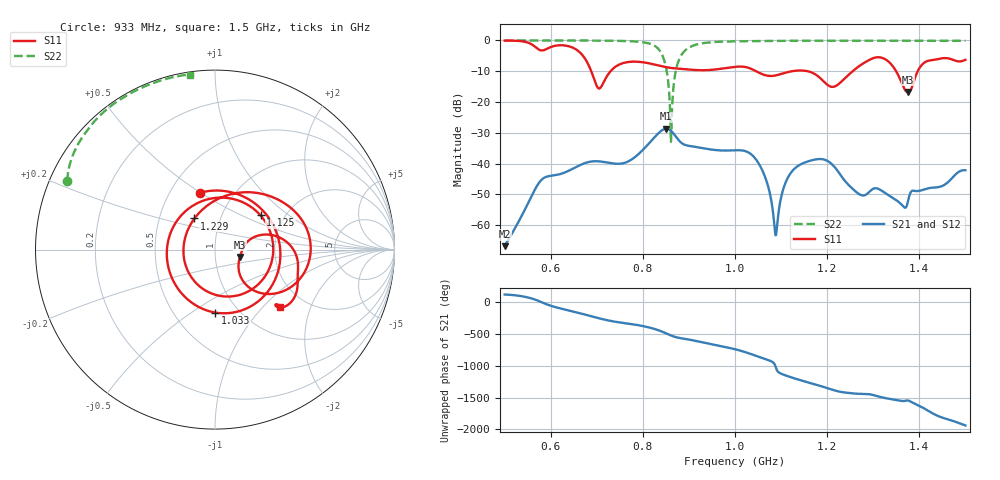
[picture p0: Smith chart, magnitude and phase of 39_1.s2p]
! TOUCHSTONE file generated by CST MICROWAVE STUDIO
! Date and time: Sat Nov 14 20:43:46 2020
! Project name: Scenario_1_Planar_Body_Tissue_Out_of_Line_v2.cst
! Parameters = {dy1=-311.4; L_HA=400; Ltissue=700; MT=2.54; Rad_Dielectric=30; Rad_Lower=7.3; Rad_Upper=30; Wtissue=700; a_HA=580; a_WG=246; b_HA=500; b_WG=121; c_HA=0; c_WG=187; d_feed=85; dx1=173; h_feed=15; h_lower=18; h_upper=40; hfat=3; hgap=25; hmuscle=50; hskin=1.5}
! Header version: 2018
! Port assignment regex: !\s*Touchstone port\s*([0-9]+)\s*=\s*(CST MWS port|CST DS port)\s*([0-9]+|Zmin|Zmax)\s*\(\"(.*)\"\)(\s*mode\s*([0-9]+))?.*
! Touchstone port assignment:
! Touchstone port 1 = CST MWS port 1 ("")
! Touchstone port 2 = CST MWS port 2 ("")
# GHz S DB R 50
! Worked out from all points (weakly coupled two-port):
!   1003 points, 500 MHz to 1.5 GHz, reference 50 ohm
!   highest |S21| = -28.69 dB at 851 MHz (marker M1); lowest = -66.9 dB at 500 MHz (marker M2)
!   lowest |S11| = -16.8 dB at 1.375 GHz (marker M3), VSWR 1.34, Z = 65.9 - j5.46 ohm
!   |S11| at or under -10 dB: 1.046 GHz to 1.124 GHz (78.2 MHz wide, 7.21 % of centre); 1.157 GHz to 1.255 GHz (98.11 MHz wide, 8.13 % of centre); 1.35 GHz to 1.397 GHz (46.92 MHz wide, 3.42 % of centre)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
!   |S22| runs from -32.9 to 0.0 dB; largest |S21 - S12| = 7.3e-06
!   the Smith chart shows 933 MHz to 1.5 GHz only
!   S11 on the Smith chart (normalised r, x): 933 MHz: 0.70, +0.50; 1.033 GHz: 0.78, -0.63; 1.125 GHz: 1.52, +0.64; 1.229 GHz: 0.75, +0.27; 1.5 GHz: 1.50, -1.26
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0.5  -0.07 -121.7  -66.87 117.3  -66.87 117.3  -0.01 151.2
0.624  -1.56 175.4  -43.28 -106.2  -43.28 -106.1  -0.03 142.2
0.667  -4.45 110.7  -40.30 177.1  -40.30 177.1  -0.04 138.5
0.692  -11.63 40.3  -39.29 128.1  -39.29 128.1  -0.06 135.9
0.719  -12.44 -107.2  -39.59 79.8  -39.59 79.8  -0.08 132.6
0.765  -7.09 156.3  -39.55 23.8  -39.55 23.9  -0.21 124.8
0.834  -8.15 17.5  -30.14 -83.6  -30.14 -83.6  -2.82 87.3
0.851  -8.70 -28.7  -28.69 -133.5  -28.69 -133.5  -9.33 57.7
0.862  -8.95 -60.9  -29.50 -167.6  -29.50 -167.6  -28.92 -103.3
0.882  -9.23 -121.4  -33.07 152.5  -33.07 152.5  -5.17 -171.2
0.933  -9.69 104.5  -35.09 82.0  -35.09 82.0  -0.84 155.1
1  -8.58 -20.9  -35.70 -21.0  -35.70 -21.0  -0.29 140.7
1.033  -9.10 -89.7  -36.77 -92.6  -36.77 -92.6  -0.23 136.6
1.088  -11.38 128.3  -63.33 65.1  -63.33 65.1  -0.14 131.2
1.125  -9.97 36.9  -42.32 -109.7  -42.32 -109.7  -0.11 127.9
1.167  -10.45 -49.2  -38.94 161.7  -38.94 161.7  -0.10 124.4
1.229  -13.65 123.4  -43.72 29.9  -43.72 29.9  -0.09 119.7
1.28  -7.31 43.1  -50.37 -2.2  -50.37 -2.2  -0.08 115.8
1.334  -6.99 -31.0  -50.39 -79.0  -50.39 -79.0  -0.09 111.7
1.375  -16.76 -16.2  -52.50 -105.8  -52.50 -105.7  -0.09 108.6
1.414  -6.92 -3.3  -48.27 115.2  -48.26 115.2  -0.09 105.5
1.5  -6.31 -41.7  -42.18 -138.0  -42.18 -138.0  -0.13 98.2
